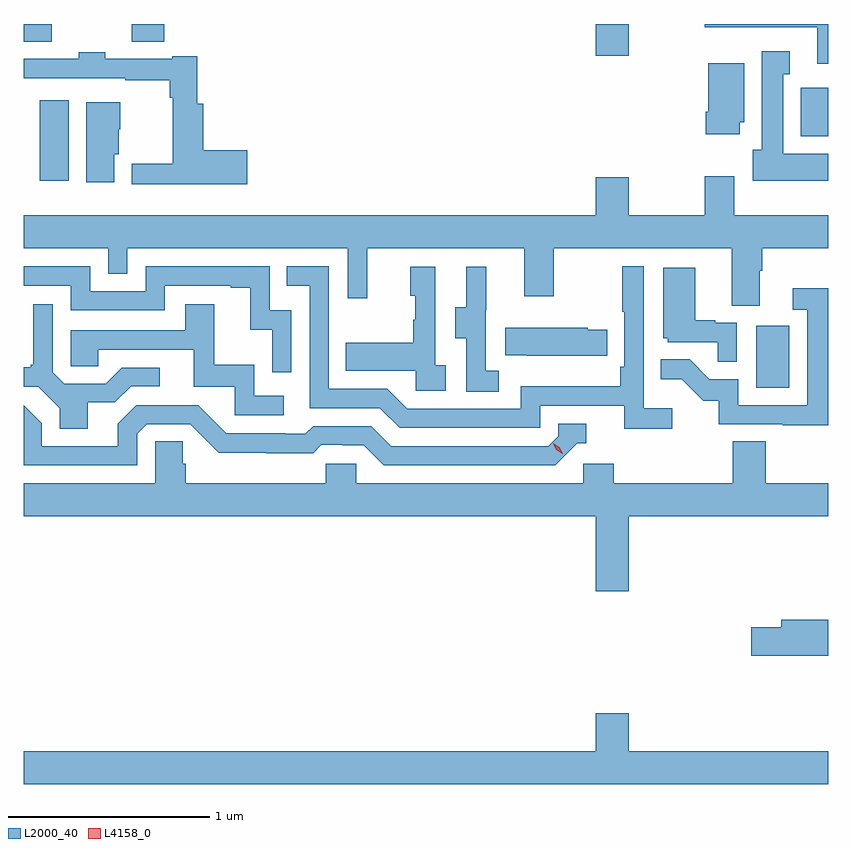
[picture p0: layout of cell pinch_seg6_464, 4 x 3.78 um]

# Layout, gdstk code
import gdstk
lib = gdstk.Library(unit=1e-6, precision=1e-09)
def R(c, l, rs):  # rectangles x0, y0, x1, y1
    for r in rs: c.add(gdstk.rectangle(r[:2], r[2:], *l))
def P(c, l, *ps):  # polygons
    for p in ps: c.add(gdstk.Polygon(p, *l))
L2000_40 = (2000, 40)
L4158_0 = (4158, 0)

pinch_seg6_464 = lib.new_cell('pinch_seg6_464')
R(pinch_seg6_464, L2000_40, [(873.098,922.668,873.262,922.975), (869.534,923.696,869.677,924.097), (873.32,923.918,873.455,924.16), (872.3,924.318,872.464,924.476), (869.455,924.388,869.594,924.476), (869.992,924.388,870.152,924.476)])
P(pinch_seg6_464, L2000_40, [(873.455,924.476),(872.841,924.476),(872.841,924.459),(873.401,924.459),(873.401,924.278),(873.455,924.278)],
  [(873.455,923.83),(873.232,923.83),(873.232,924.227),(873.265,924.227),(873.265,924.34),(873.125,924.34),(873.125,923.85),(873.08,923.85),(873.08,923.696),(873.455,923.696)],
  [(870.565,923.849),(870.347,923.849),(870.347,924.079),(870.317,924.079),(870.317,924.316),(870.194,924.316),(870.194,924.303),(869.859,924.303),(869.859,924.336),(869.727,924.336),(869.727,924.303),(869.455,924.303),(869.455,924.207),(869.959,924.207),(869.959,924.195),(870.181,924.195),(870.181,924.11),(870.196,924.11),(870.196,923.78),(869.991,923.78),(869.991,923.678),(870.565,923.678)],
  [(873.016,923.988),(873.037,923.988),(873.037,924.28),(872.858,924.28),(872.858,924.04),(872.846,924.04),(872.846,923.928),(873.016,923.928)],
  [(869.905,923.829),(869.926,923.829),(869.926,923.952),(869.935,923.952),(869.935,924.088),(869.765,924.088),(869.765,923.688),(869.905,923.688)],
  [(873.115,923.248),(873.128,923.248),(873.128,923.36),(873.455,923.36),(873.455,923.524),(872.989,923.524),(872.989,923.719),(872.842,923.719),(872.842,923.524),(872.464,923.524),(872.464,923.713),(872.3,923.713),(872.3,923.524),(869.455,923.524),(869.455,923.36),(869.874,923.36),(869.874,923.233),(869.97,923.233),(869.97,923.36),(871.065,923.36),(871.065,923.112),(871.163,923.112),(871.163,923.36),(871.943,923.36),(871.943,923.121),(872.091,923.121),(872.091,923.36),(872.975,923.36),(872.975,923.074),(873.115,923.074)],
  [(872.68,922.564),(872.538,922.564),(872.538,923.272),(872.43,923.272),(872.43,923.044),(872.442,923.044),(872.442,922.771),(872.422,922.771),(872.422,922.675),(871.926,922.675),(871.926,922.563),(871.362,922.563),(871.263,922.662),(870.972,922.662),(870.972,923.271),(870.763,923.271),(870.763,923.175),(870.876,923.175),(870.876,922.566),(871.226,922.566),(871.325,922.467),(872.022,922.467),(872.022,922.578),(872.441,922.578),(872.441,922.462),(872.68,922.462)],
  [(870.786,923.052),(870.678,923.052),(870.678,923.271),(870.06,923.271),(870.06,923.148),(869.784,923.148),(869.784,923.271),(869.455,923.271),(869.455,923.175),(869.688,923.175),(869.688,923.052),(870.156,923.052),(870.156,923.175),(870.485,923.175),(870.485,923.163),(870.581,923.163),(870.581,922.955),(870.69,922.955),(870.69,922.743),(870.786,922.743)],
  [(871.816,922.751),(871.752,922.751),(871.752,923.055),(871.754,923.055),(871.754,923.269),(871.655,923.269),(871.655,923.067),(871.601,923.067),(871.601,922.912),(871.656,922.912),(871.656,922.648),(871.816,922.648)],
  [(871.552,922.778),(871.5,922.778),(871.5,923.269),(871.376,923.269),(871.376,923.124),(871.402,923.124),(871.402,923.006),(871.392,923.006),(871.392,922.891),(871.057,922.891),(871.057,922.751),(871.404,922.751),(871.404,922.653),(871.552,922.653)],
  [(873,922.989),(872.894,922.989),(872.894,923.002),(872.794,923.002),(872.794,923.263),(872.636,923.263),(872.636,922.914),(872.658,922.914),(872.658,922.893),(872.905,922.893),(872.905,922.795),(873,922.795)],
  [(873.455,923.161),(873.279,923.161),(873.279,923.055),(873.351,923.055),(873.351,922.581),(873.009,922.581),(873.009,922.71),(872.865,922.71),(872.767,922.808),(872.623,922.808),(872.623,922.709),(872.727,922.709),(872.834,922.602),(872.911,922.602),(872.911,922.485),(873.229,922.485),(873.229,922.48),(873.455,922.48)],
  [(870.748,922.626),(870.6,922.626),(870.6,922.78),(870.401,922.78),(870.401,923.083),(870.257,923.083),(870.257,922.953),(869.688,922.953),(869.688,922.773),(869.825,922.773),(869.825,922.857),(870.299,922.857),(870.299,922.671),(870.504,922.671),(870.504,922.53),(870.748,922.53)],
  [(869.773,922.594),(869.908,922.594),(869.988,922.674),(870.13,922.674),(870.13,922.767),(869.942,922.767),(869.861,922.686),(869.655,922.686),(869.598,922.743),(869.598,923.083),(869.501,923.083),(869.501,922.78),(869.49,922.78),(869.49,922.768),(869.455,922.768),(869.455,922.671),(869.526,922.671),(869.633,922.564),(869.633,922.462),(869.773,922.462)],
  [(872.357,922.956),(872.259,922.956),(872.259,922.966),(871.849,922.966),(871.849,922.829),(871.957,922.829),(871.957,922.826),(872.357,922.826)],
  [(870.018,922.437),(870.066,922.485),(870.282,922.485),(870.424,922.343),(870.66,922.343),(870.66,922.341),(870.893,922.341),(870.935,922.383),(871.038,922.383),(871.038,922.38),(871.145,922.38),(871.244,922.281),(872.097,922.281),(872.208,922.392),(872.251,922.392),(872.251,922.488),(872.112,922.488),(872.112,922.425),(872.064,922.377),(871.281,922.377),(871.182,922.476),(870.893,922.476),(870.854,922.437),(870.755,922.437),(870.755,922.44),(870.462,922.44),(870.321,922.581),(870.015,922.581),(869.921,922.487),(869.921,922.377),(869.544,922.377),(869.544,922.491),(869.455,922.58),(869.455,922.281),(870.018,922.281)],
  [(872.464,922.028),(873.455,922.028),(873.455,922.192),(873.146,922.192),(873.146,922.4),(872.981,922.4),(872.981,922.192),(872.39,922.192),(872.39,922.29),(872.238,922.29),(872.238,922.192),(871.107,922.192),(871.107,922.29),(870.957,922.29),(870.957,922.192),(870.26,922.192),(870.26,922.29),(870.245,922.29),(870.245,922.4),(870.108,922.4),(870.108,922.192),(869.455,922.192),(869.455,922.028),(872.3,922.028),(872.3,921.654),(872.464,921.654)],
  [(873.455,921.512),(873.221,921.512),(873.221,921.476),(873.072,921.476),(873.072,921.334),(873.455,921.334)],
  [(873.455,920.86),(872.464,920.86),(872.464,921.049),(872.3,921.049),(872.3,920.86),(869.455,920.86),(869.455,920.696),(873.455,920.696)])
P(pinch_seg6_464, L4158_0, [(872.133,922.338),(872.103,922.358),(872.088,922.391),(872.088,922.391),(872.088,922.391),(872.118,922.371),(872.134,922.338),(872.134,922.338)])

lib.write_gds('pinch_seg6_464.gds')
